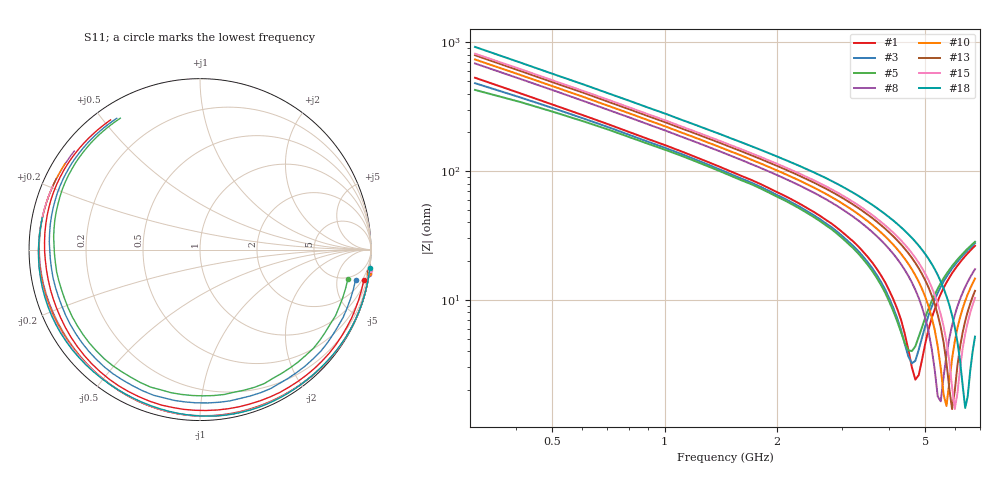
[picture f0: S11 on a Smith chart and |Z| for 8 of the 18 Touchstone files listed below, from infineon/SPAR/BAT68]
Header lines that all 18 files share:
! Infineon Technologies  Discrete & RF Semiconductors
! BAT68
! One-Port S-Parameters
# Hz  S  MA  R  50
!f  S11
!Hz  Mag  Ang
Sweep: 309.9 MHz to 6.807 GHz
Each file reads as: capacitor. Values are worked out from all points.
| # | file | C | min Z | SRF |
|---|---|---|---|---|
| 1 | BAT68_IAC_0.01mA.s1p | 964 fF | 2.41 ohm | 4.731 GHz |
| 2 | BAT68_IAC_0.02mA.s1p | 1.02 pF | 2.84 ohm | 4.66 GHz |
| 3 | BAT68_IAC_0.03mA.s1p | 1.08 pF | 3.22 ohm | 4.614 GHz |
| 4 | BAT68_IAC_0.04mA.s1p | 1.15 pF | 3.6 ohm | 4.581 GHz |
| 5 | BAT68_IAC_0.05mA.s1p | 1.25 pF | 4.01 ohm | 4.554 GHz |
| 6 | BAT68_IAC_0.06mA.s1p | 1.36 pF | 4.36 ohm | 4.53 GHz |
| 7 | BAT68_VCA_0.1V.s1p | 779 fF | 1.64 ohm | 5.332 GHz |
| 8 | BAT68_VCA_0.2V.s1p | 743 fF | 1.63 ohm | 5.467 GHz |
| 9 | BAT68_VCA_0.3V.s1p | 714 fF | 1.54 ohm | 5.583 GHz |
| 10 | BAT68_VCA_0.4V.s1p | 692 fF | 1.5 ohm | 5.683 GHz |
| 11 | BAT68_VCA_0.5V.s1p | 673 fF | 1.54 ohm | 5.77 GHz |
| 12 | BAT68_VCA_0.6V.s1p | 657 fF | 1.53 ohm | 5.845 GHz |
| 13 | BAT68_VCA_0.7V.s1p | 644 fF | 1.42 ohm | 5.91 GHz |
| 14 | BAT68_VCA_0.8V.s1p | 633 fF | 1.52 ohm | 5.969 GHz |
| 15 | BAT68_VCA_0.9V.s1p | 623 fF | 1.42 ohm | 6.02 GHz |
| 16 | BAT68_VCA_1V.s1p | 615 fF | 1.54 ohm | 6.065 GHz |
| 17 | BAT68_VCA_2V.s1p | 572 fF | 1.42 ohm | 6.317 GHz |
| 18 | BAT68_VCA_3V.s1p | 555 fF | 1.45 ohm | 6.429 GHz |
